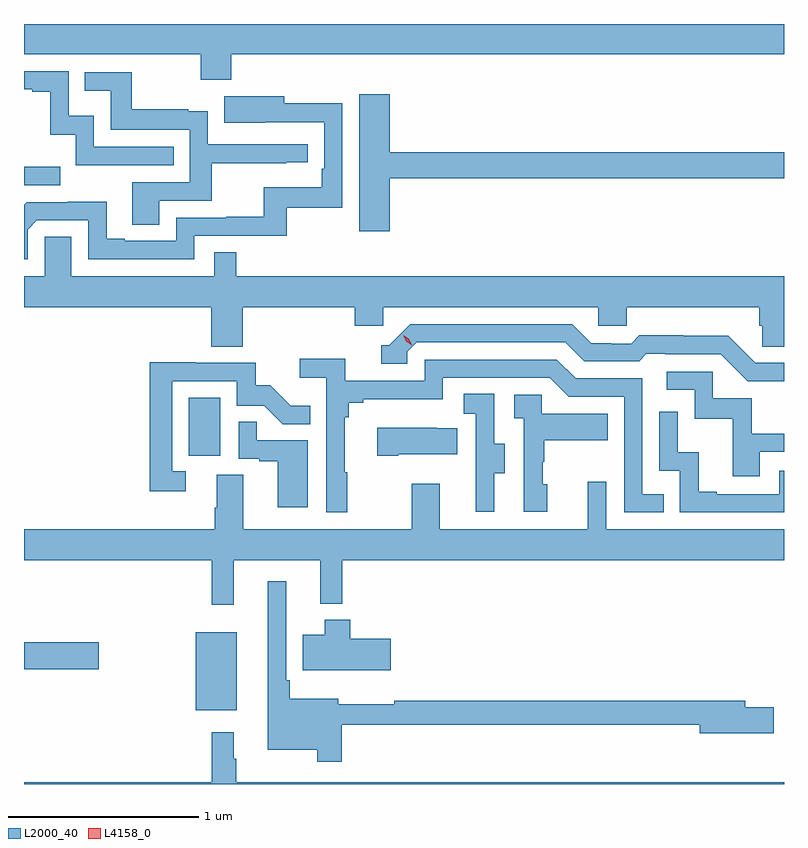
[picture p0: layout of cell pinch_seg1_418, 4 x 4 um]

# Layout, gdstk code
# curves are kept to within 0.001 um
import gdstk
lib = gdstk.Library(unit=1e-6, precision=1e-09)
def R(c, l, rs):  # rectangles x0, y0, x1, y1
    for r in rs: c.add(gdstk.rectangle(r[:2], r[2:], *l))
def P(c, l, *ps):  # polygons
    for p in ps: c.add(gdstk.Polygon(p, *l))
L2000_40 = (2000, 40)
L4158_0 = (4158, 0)

pinch_seg1_418 = lib.new_cell('pinch_seg1_418')
R(pinch_seg1_418, L2000_40, [(925.484,536.291,925.699,536.701), (924.58,536.507,924.973,536.649), (925.448,537.63,925.612,537.937), (924.58,539.055,924.772,539.152)])
P(pinch_seg1_418, L2000_40, [(925.67,539.744),(928.58,539.744),(928.58,539.903),(924.58,539.903),(924.58,539.744),(925.51,539.744),(925.51,539.609),(925.67,539.609)],
  [(925.367,539.256),(924.948,539.256),(924.948,539.419),(924.816,539.419),(924.816,539.655),(924.58,539.655),(924.58,539.559),(924.623,539.559),(924.623,539.547),(924.719,539.547),(924.719,539.321),(924.852,539.321),(924.852,539.16),(925.367,539.16)],
  [(925.291,538.974),(925.568,538.974),(925.568,539.17),(925.961,539.17),(925.961,539.175),(926.074,539.175),(926.074,539.271),(925.548,539.271),(925.548,539.443),(925.445,539.443),(925.445,539.455),(925.147,539.455),(925.147,539.649),(924.901,539.649),(924.901,539.552),(925.036,539.552),(925.036,539.346),(925.452,539.346),(925.452,539.07),(925.151,539.07),(925.151,538.846),(925.291,538.846)],
  [(926.506,539.092),(928.58,539.092),(928.58,539.228),(926.506,539.228),(926.506,539.533),(926.345,539.533),(926.345,538.812),(926.506,538.812)],
  [(924.6,538.821),(924.648,538.869),(924.918,538.869),(924.918,538.665),(925.476,538.665),(925.476,538.788),(925.963,538.788),(925.963,538.935),(926.256,538.935),(926.256,539.486),(925.951,539.486),(925.951,539.524),(925.633,539.524),(925.633,539.384),(926.16,539.385),(926.16,539.14),(926.147,539.14),(926.147,539.044),(925.842,539.044),(925.842,538.889),(925.645,538.889),(925.645,538.884),(925.38,538.884),(925.38,538.761),(925.111,538.761),(925.111,538.774),(925.015,538.774),(925.015,538.967),(924.81,538.967),(924.81,538.965),(924.594,538.965),(924.58,538.951),(924.58,538.665),(924.6,538.665)],
  [(925.73,538.412),(926.321,538.412),(926.321,538.314),(926.472,538.314),(926.472,538.412),(927.603,538.412),(927.603,538.314),(927.753,538.314),(927.753,538.412),(928.451,538.412),(928.451,538.314),(928.465,538.314),(928.465,538.204),(928.58,538.204),(928.58,538.576),(925.697,538.576),(925.697,538.703),(925.581,538.703),(925.581,538.576),(924.829,538.576),(924.829,538.784),(924.69,538.784),(924.69,538.576),(924.58,538.576),(924.58,538.412),(925.565,538.412),(925.565,538.204),(925.73,538.204)],
  [(928.58,538.119),(928.428,538.119),(928.286,538.261),(928.05,538.261),(928.05,538.264),(927.817,538.264),(927.775,538.221),(927.672,538.221),(927.672,538.224),(927.565,538.224),(927.466,538.323),(926.613,538.323),(926.502,538.212),(926.459,538.212),(926.459,538.116),(926.598,538.116),(926.598,538.179),(926.646,538.227),(927.429,538.227),(927.528,538.128),(927.817,538.128),(927.856,538.167),(927.955,538.167),(927.955,538.164),(928.248,538.164),(928.389,538.023),(928.58,538.023)],
  [(926.281,537.545),(926.269,537.545),(926.269,537.833),(926.288,537.833),(926.288,537.91),(926.365,537.91),(926.365,537.929),(926.784,537.929),(926.784,538.041),(927.348,538.041),(927.447,537.942),(927.738,537.942),(927.738,537.333),(927.947,537.333),(927.947,537.429),(927.834,537.429),(927.834,538.038),(927.484,538.038),(927.385,538.137),(926.688,538.137),(926.688,538.026),(926.27,538.026),(926.27,538.142),(926.031,538.142),(926.031,538.04),(926.172,538.04),(926.172,537.333),(926.281,537.333)],
  [(925.432,537.549),(925.359,537.549),(925.359,538.023),(925.701,538.023),(925.701,537.894),(925.845,537.894),(925.943,537.796),(926.087,537.796),(926.087,537.895),(925.983,537.895),(925.876,538.002),(925.8,538.002),(925.8,538.119),(925.481,538.119),(925.481,538.124),(925.243,538.124),(925.243,537.444),(925.432,537.444)],
  [(928.453,537.651),(928.58,537.651),(928.58,537.747),(928.411,537.747),(928.411,537.933),(928.206,537.933),(928.206,538.074),(927.963,538.074),(927.963,537.978),(928.11,537.978),(928.11,537.825),(928.309,537.825),(928.309,537.522),(928.453,537.522)],
  [(927.055,537.538),(927.109,537.538),(927.109,537.693),(927.054,537.693),(927.054,537.956),(926.895,537.956),(926.895,537.853),(926.958,537.853),(926.958,537.549),(926.957,537.549),(926.957,537.336),(927.055,537.336)],
  [(927.334,537.48),(927.309,537.48),(927.309,537.599),(927.319,537.599),(927.319,537.713),(927.653,537.713),(927.653,537.853),(927.306,537.853),(927.306,537.951),(927.159,537.951),(927.159,537.827),(927.21,537.827),(927.21,537.336),(927.334,537.336)],
  [(928.58,537.552),(928.554,537.552),(928.554,537.429),(928.225,537.429),(928.225,537.442),(928.13,537.442),(928.13,537.65),(928.02,537.65),(928.02,537.862),(927.924,537.862),(927.924,537.552),(928.032,537.552),(928.032,537.333),(928.58,537.333)],
  [(926.074,537.711),(925.805,537.711),(925.805,537.809),(925.71,537.809),(925.71,537.615),(925.817,537.615),(925.817,537.603),(925.916,537.603),(925.916,537.36),(926.074,537.36)],
  [(926.551,537.638),(926.861,537.638),(926.861,537.775),(926.753,537.775),(926.753,537.778),(926.439,537.778),(926.439,537.631),(926.551,537.631)],
  [(925.685,537.08),(926.138,537.08),(926.138,536.852),(926.255,536.852),(926.255,537.08),(928.58,537.08),(928.58,537.244),(927.645,537.244),(927.645,537.493),(927.548,537.493),(927.548,537.244),(926.767,537.244),(926.767,537.484),(926.62,537.484),(926.62,537.244),(925.735,537.244),(925.735,537.53),(925.595,537.53),(925.595,537.356),(925.583,537.356),(925.583,537.244),(924.58,537.244),(924.58,537.08),(925.567,537.08),(925.567,536.847),(925.685,536.847)],
  [(926.252,536.214),(928.136,536.214),(928.136,536.171),(928.525,536.171),(928.525,536.306),(928.375,536.306),(928.375,536.342),(926.529,536.342),(926.529,536.323),(926.233,536.323),(926.233,536.353),(925.979,536.353),(925.979,536.449),(925.959,536.449),(925.959,536.971),(925.862,536.971),(925.862,536.084),(926.124,536.084),(926.124,536.019),(926.252,536.019)],
  [(926.509,536.667),(926.297,536.667),(926.297,536.767),(926.162,536.767),(926.162,536.689),(926.048,536.689),(926.048,536.501),(926.509,536.501)],
  [(928.58,535.912),(925.696,535.912),(925.696,536.036),(925.684,536.036),(925.684,536.176),(925.567,536.176),(925.567,535.912),(924.58,535.912),(924.58,535.903),(928.58,535.903)])
P(pinch_seg1_418, L4158_0, [(926.622,538.213),(926.591,538.232),(926.575,538.265),(926.575,538.265),(926.575,538.265),(926.606,538.246),(926.622,538.213),(926.622,538.213)])

lib.write_gds('pinch_seg1_418.gds')
